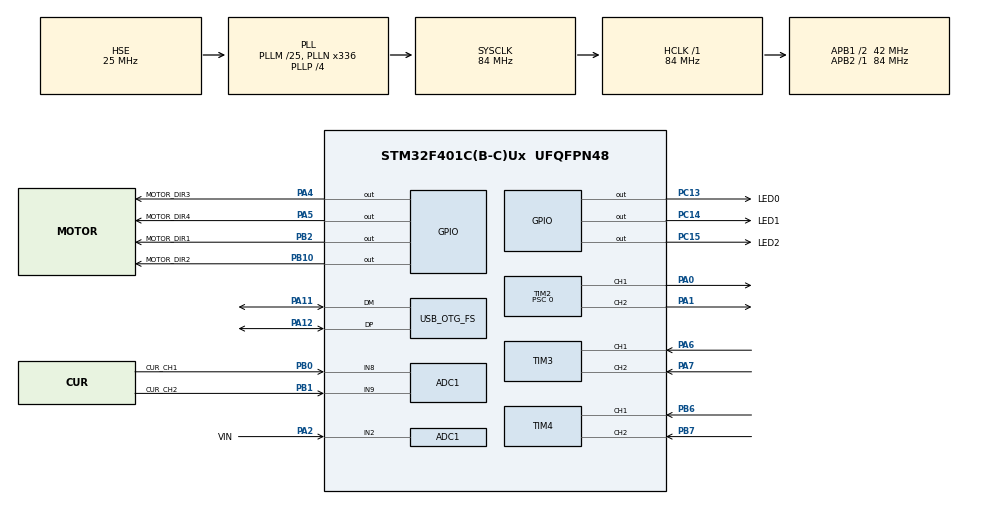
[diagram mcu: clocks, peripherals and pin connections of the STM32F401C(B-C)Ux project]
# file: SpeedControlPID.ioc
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ADC1.Channel-0\#ChannelRegularConversion=ADC_CHANNEL_8
ADC1.Channel-1\#ChannelRegularConversion=ADC_CHANNEL_9
ADC1.Channel-2\#ChannelRegularConversion=ADC_CHANNEL_TEMPSENSOR
ADC1.Channel-3\#ChannelRegularConversion=ADC_CHANNEL_VREFINT
ADC1.Channel-4\#ChannelRegularConversion=ADC_CHANNEL_2
ADC1.ContinuousConvMode=ENABLE
ADC1.DMAContinuousRequests=ENABLE
ADC1.NbrOfConversion=5
ADC1.NbrOfConversionFlag=1
ADC1.Rank-0\#ChannelRegularConversion=1
ADC1.Rank-1\#ChannelRegularConversion=2
ADC1.Rank-2\#ChannelRegularConversion=3
ADC1.Rank-3\#ChannelRegularConversion=4
ADC1.Rank-4\#ChannelRegularConversion=5
ADC1.SamplingTime-0\#ChannelRegularConversion=ADC_SAMPLETIME_480CYCLES
ADC1.SamplingTime-1\#ChannelRegularConversion=ADC_SAMPLETIME_480CYCLES
ADC1.SamplingTime-2\#ChannelRegularConversion=ADC_SAMPLETIME_480CYCLES
ADC1.SamplingTime-3\#ChannelRegularConversion=ADC_SAMPLETIME_480CYCLES
ADC1.SamplingTime-4\#ChannelRegularConversion=ADC_SAMPLETIME_480CYCLES
ADC1.master=1
Dma.ADC1.0.Direction=DMA_PERIPH_TO_MEMORY
Dma.ADC1.0.FIFOMode=DMA_FIFOMODE_DISABLE
Dma.ADC1.0.Instance=DMA2_Stream0
Dma.ADC1.0.MemDataAlignment=DMA_MDATAALIGN_WORD
Dma.ADC1.0.MemInc=DMA_MINC_ENABLE
Dma.ADC1.0.Mode=DMA_CIRCULAR
Dma.ADC1.0.PeriphDataAlignment=DMA_PDATAALIGN_WORD
Dma.ADC1.0.PeriphInc=DMA_PINC_DISABLE
Dma.ADC1.0.Priority=DMA_PRIORITY_LOW
Dma.Request0=ADC1
IWDG.Prescaler=IWDG_PRESCALER_32
IWDG.Reload=1999
Mcu.Family=STM32F4
Mcu.Name=STM32F401C(B-C)Ux
Mcu.Package=UFQFPN48
NVIC.DMA2_Stream0_IRQn=true\:0\:0\:false\:false\:true\:false\:true\:true
NVIC.OTG_FS_IRQn=true\:0\:0\:false\:false\:true\:false\:true\:true
NVIC.PriorityGroup=NVIC_PRIORITYGROUP_4
NVIC.TIM1_BRK_TIM9_IRQn=true\:0\:0\:false\:false\:true\:true\:true\:true
NVIC.TIM3_IRQn=true\:0\:0\:false\:false\:true\:true\:true\:true
NVIC.TIM4_IRQn=true\:0\:0\:false\:false\:true\:true\:true\:true
NVIC.TIM5_IRQn=true\:0\:0\:false\:false\:true\:true\:true\:true
PA0-WKUP.Signal=S_TIM2_CH1_ETR
PA1.GPIO_PuPd=GPIO_PULLUP
PA1.GPIO_Speed=GPIO_SPEED_FREQ_MEDIUM
PA1.Signal=S_TIM2_CH2
PA11.Mode=Device_Only
PA11.Signal=USB_OTG_FS_DM
PA12.Mode=Device_Only
PA12.Signal=USB_OTG_FS_DP
PA13.Mode=Serial_Wire
PA13.Signal=SYS_JTMS-SWDIO
PA14.Mode=Serial_Wire
PA14.Signal=SYS_JTCK-SWCLK
PA2.GPIO_Label=VIN
PA2.Signal=ADCx_IN2
PA4.GPIO_Label=MOTOR_DIR3
PA4.GPIO_PuPd=GPIO_PULLUP
PA4.Signal=GPIO_Output
PA5.GPIO_Label=MOTOR_DIR4
PA5.GPIO_PuPd=GPIO_PULLUP
PA5.Signal=GPIO_Output
PA6.GPIO_PuPd=GPIO_PULLUP
PA6.GPIO_Speed=GPIO_SPEED_FREQ_MEDIUM
PA6.Signal=S_TIM3_CH1
PA7.GPIO_PuPd=GPIO_PULLUP
PA7.GPIO_Speed=GPIO_SPEED_FREQ_MEDIUM
PA7.Signal=S_TIM3_CH2
PB0.GPIO_Label=CUR_CH1
PB0.Signal=ADCx_IN8
PB1.GPIO_Label=CUR_CH2
PB1.Signal=ADCx_IN9
PB10.GPIO_Label=MOTOR_DIR2
PB10.Signal=GPIO_Output
PB2.GPIO_Label=MOTOR_DIR1
PB2.Signal=GPIO_Output
PB6.GPIO_PuPd=GPIO_PULLUP
PB6.GPIO_Speed=GPIO_SPEED_FREQ_MEDIUM
PB6.Signal=S_TIM4_CH1
PB7.GPIO_PuPd=GPIO_PULLUP
PB7.GPIO_Speed=GPIO_SPEED_FREQ_MEDIUM
PB7.Signal=S_TIM4_CH2
PC13-ANTI_TAMP.GPIO_Label=LED0
PC13-ANTI_TAMP.Signal=GPIO_Output
PC14-OSC32_IN.GPIO_Label=LED1
PC14-OSC32_IN.GPIO_PuPd=GPIO_PULLUP
PC14-OSC32_IN.Signal=GPIO_Output
PC15-OSC32_OUT.GPIO_Label=LED2
PC15-OSC32_OUT.GPIO_PuPd=GPIO_PULLUP
PC15-OSC32_OUT.Signal=GPIO_Output
PH0\ -\ OSC_IN.Mode=HSE-External-Oscillator
PH0\ -\ OSC_IN.Signal=RCC_OSC_IN
PH1\ -\ OSC_OUT.Mode=HSE-External-Oscillator
PH1\ -\ OSC_OUT.Signal=RCC_OSC_OUT
ProjectManager.HeapSize=0x200
ProjectManager.StackSize=0x400
ProjectManager.TargetToolchain=Makefile
RCC.48MHZClocksFreq_Value=48000000
RCC.AHBFreq_Value=84000000
RCC.APB1CLKDivider=RCC_HCLK_DIV2
RCC.APB1Freq_Value=42000000
RCC.APB1TimFreq_Value=84000000
RCC.APB2Freq_Value=84000000
RCC.APB2TimFreq_Value=84000000
RCC.CortexFreq_Value=84000000
RCC.HCLKFreq_Value=84000000
RCC.HSE_VALUE=25000000
RCC.HSI_VALUE=16000000
RCC.LSE_VALUE=32768
RCC.PLLM=25
RCC.PLLN=336
RCC.PLLP=RCC_PLLP_DIV4
RCC.PLLQ=7
RCC.SYSCLKFreq_VALUE=84000000
RCC.SYSCLKSource=RCC_SYSCLKSOURCE_PLLCLK
RCC.VCOOutputFreq_Value=336000000
SH.ADCx_IN2.0=ADC1_IN2,IN2
SH.ADCx_IN8.0=ADC1_IN8,IN8
SH.ADCx_IN9.0=ADC1_IN9,IN9
SH.S_TIM2_CH1_ETR.0=TIM2_CH1,PWM Generation1 CH1
SH.S_TIM2_CH2.0=TIM2_CH2,PWM Generation2 CH2
SH.S_TIM3_CH1.0=TIM3_CH1,Encoder_Interface
SH.S_TIM3_CH2.0=TIM3_CH2,Encoder_Interface
SH.S_TIM4_CH1.0=TIM4_CH1,Encoder_Interface
SH.S_TIM4_CH2.0=TIM4_CH2,Encoder_Interface
TIM2.Channel-PWM\ Generation1\ CH1=TIM_CHANNEL_1
TIM2.Channel-PWM\ Generation2\ CH2=TIM_CHANNEL_2
TIM2.Period=8399
TIM2.Prescaler=0
TIM3.EncoderMode=TIM_ENCODERMODE_TI12
TIM3.IC1Polarity=TIM_ICPOLARITY_FALLING
TIM3.IC2Polarity=TIM_ICPOLARITY_FALLING
TIM4.EncoderMode=TIM_ENCODERMODE_TI12
TIM4.IC1Polarity=TIM_ICPOLARITY_FALLING
TIM4.IC2Polarity=TIM_ICPOLARITY_FALLING
TIM5.AutoReloadPreload=TIM_AUTORELOAD_PRELOAD_DISABLE
TIM5.Period=9999
TIM5.Prescaler=83
TIM9.Period=99
TIM9.Prescaler=83
USB_DEVICE.APP_RX_DATA_SIZE=100
USB_DEVICE.APP_TX_DATA_SIZE=100
USB_DEVICE.CLASS_NAME_FS=CDC
USB_DEVICE.VirtualMode=Cdc
USB_DEVICE.VirtualModeFS=Cdc_FS
USB_OTG_FS.VirtualMode=Device_Only
VP_ADC1_TempSens_Input.Mode=IN-TempSens
VP_ADC1_Vref_Input.Mode=IN-Vrefint
VP_IWDG_VS_IWDG.Mode=IWDG_Activate
VP_TIM2_VS_ClockSourceINT.Mode=Internal
VP_TIM5_VS_ClockSourceINT.Mode=Internal
VP_TIM9_VS_ClockSourceINT.Mode=Internal
VP_USB_DEVICE_VS_USB_DEVICE_CDC_FS.Mode=CDC_FS
board=custom

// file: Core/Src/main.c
/* USER CODE BEGIN Header */
/**
  ******************************************************************************
  * @file           : main.c
  * @brief          : Main program body
  ******************************************************************************
  * @attention
  *
  * Copyright (c) 2023 STMicroelectronics.
  * All rights reserved.
  *
  * This software is licensed under terms that can be found in the LICENSE file
  * in the root directory of this software component.
  * If no LICENSE file comes with this software, it is provided AS-IS.
  *
  ******************************************************************************
  */
/* USER CODE END Header */
#include "main.h"
#include "adc.h"
#include "dma.h"
#include "iwdg.h"
#include "tim.h"
#include "usb_device.h"
#include "gpio.h"

/* USER CODE BEGIN Includes */

#include "usbd_cdc_if.h"
#include "string.h"
#include "stdbool.h"
#include "stdio.h"

#include "log_codec.h"

/* USER CODE END Includes */

/* USER CODE BEGIN PTD */

typedef struct MotorHandle_t
{
  uint32_t* ADC_raw;
  uint32_t ADC_Voltage_mV;
  uint32_t ACS_MidPointVoltage_mV;
  uint8_t conversionRatio_mVpA;
  float ADC_Current_A;
  int32_t ADC_Current_mA;

  int32_t encoderValue;
  uint16_t Encoder_Counter_Tick;
  uint16_t Encoder_Counter_preTick;
  uint16_t conversionRatio_TickpRotation;
  int32_t Encoder_Speed_TickpSec;
  int32_t Encoder_Speed_RPM;

  float Duty;
  uint32_t Vcc_mV;

} MotorHandle_t;

typedef struct LPF_t
{
  //Conner Frequency in Hz
	float Fc;
  //Sampling Time in second
  float Ts;

  //Filter Parameters
	float a1, a2, b1, b2;
	float alpha;
	float yk, yk_1, yk_2, uk, uk_1;

} LPF_t;

typedef struct PIHanlde_t
{
  MotorHandle_t MotorHandle;

  float Kp_Rotation;
  float Ki_Rotation;

  float Kp_Current;
  float Ki_Current;

  int32_t Ref_Speed_RPM;

  //error of rotation speed with time (0 - now)
  int32_t e_wt[2];
  //error of current with time (0 - now)
  float e_It[2];
  //value of gain part RPM & Current
  float vP_w;
  float vP_I;
  //value of integral part RPM & Current with time (0 - now)
  float vI_wt[2];
  float vI_It[2];
  //Output value of each PI
  float vOut_w;
  float vOut_I;

  //Sampling Time in millisecond
  uint32_t Ts;
  uint32_t timeKeeper;
  LPF_t Rotation_LPFHandle;
  LPF_t Current_LPFHandle;

  TIM_HandleTypeDef* PWM_Timer;
  uint32_t PWM_Channel;

  TIM_HandleTypeDef* FB_Encoder_Timer;

  bool Enable;

} PIHanlde_t;

/* USER CODE END PTD */

/* USER CODE BEGIN PD */
#define PI                      (3.1415926535)
#define V25                     (0.76)
#define AVG_SLOPE               (0.0025)
#define VREFINT                 (1.21)
#define ADC_RESOLUTION          (4095.0)
#define COUNTER_PERIOD          (8399)
#define NUMBER_OF_ADC_CHANNEL   (5)
#define ADC_BUFFER_LENGTH       (100)
#define LOG_DELAY_MS            (20)
#define ACS_ADC_RATIO           (0.6416)
#define ALPHA                   (0.0001)

#define MOTOR_1_FLASH_ADDR      (0x08020000)
#define MOTOR_2_FLASH_ADDR      (0x08020500)

/* USER CODE END PD */

/* USER CODE BEGIN PV */

static char* InitSentence = "---\tHELLO! WELCOME TO P-I SPEED CONTROL PROGRAM!\t---\r\n";
uint8_t USB_RX_BUFFER[100] = {0};
volatile bool isNewUSBPacket = false;
volatile bool isUSBFree = true;

volatile bool isDEBUG = false;
volatile bool isAppConnected = false;
volatile bool isUpdating = false;
volatile bool isLogSetting = false;

static uint32_t ADC_raw_value[ADC_BUFFER_LENGTH + 1][NUMBER_OF_ADC_CHANNEL] = {0};
static uint32_t ADC_raw_Inverted[NUMBER_OF_ADC_CHANNEL][ADC_BUFFER_LENGTH + 1] = {0};
uint16_t ADC_raw_value_index = 0;
static uint32_t ADC_VREF_mV = 3325;
static uint32_t ADC_VIN = 12000;
float chipTemperature = 0.0;

uint32_t encoderIndex = 0;

static PIHanlde_t Motor_1 = {
  // .MotorHandle.ADC_raw = &ADC_raw_value[ADC_BUFFER_LENGTH][0],
  .MotorHandle.conversionRatio_mVpA = 185,
  // .MotorHandle.ACS_MidPointVoltage_mV = 2500,
  .MotorHandle.conversionRatio_TickpRotation = 334,
  .MotorHandle.Vcc_mV = 12000,
  .Ref_Speed_RPM = 0,
  .Kp_Rotation = 0.04,
  .Ki_Rotation = 0.08,
  .Kp_Current = 1,
  .Ki_Current = 0.01,
  .Ts = 100,
  .PWM_Timer = &htim2,
  .PWM_Channel = TIM_CHANNEL_1,
  .FB_Encoder_Timer = &htim3,
  .Enable = false
};

static PIHanlde_t Motor_2 = {
  // .MotorHandle.ADC_raw = &ADC_raw_value[ADC_BUFFER_LENGTH][1],
  .MotorHandle.conversionRatio_mVpA = 185,
  // .MotorHandle.ACS_MidPointVoltage_mV = 2500,
  .MotorHandle.conversionRatio_TickpRotation = 334,
  .MotorHandle.Vcc_mV = 12000,
  .Ref_Speed_RPM = 0,
  .Kp_Rotation = 0.04,
  .Ki_Rotation = 0.08,
  .Kp_Current = 1,
  .Ki_Current = 0.01,
  .Ts = 100,
  .PWM_Timer = &htim2,
  .PWM_Channel = TIM_CHANNEL_2,
  .FB_Encoder_Timer = &htim4,
  .Enable = false
};

static uint8_t dummy1[300] = {0};
static uint8_t dummy2[300] = {0};

PIHanlde_t* pMotor;

uint32_t timeKeeper = 0;

/* USER CODE END PV */

void SystemClock_Config(void);
/* USER CODE BEGIN PFP */

void LPF_Init(LPF_t *pLPF, uint16_t ConnerFrqHz, float samplingTime);

int32_t getRotationSpeed(PIHanlde_t* motor);
uint32_t getCurrent(PIHanlde_t* motor);
int32_t runRotation_LPF(LPF_t *pLPF, int32_t input);
int32_t runCurrent_LPF(LPF_t *pLPF, int32_t input);
float runPIControl(PIHanlde_t* motor);
void runEncoderTickHandle(PIHanlde_t* motor);

bool logData(PIHanlde_t* motor, uint8_t codec);
bool updateData(void);

uint32_t prepareSaveSpace();
uint32_t Flash_Write_Data(uint32_t StartPageAddress, uint32_t *Data, uint16_t numberofwords);

float getChipTemperature(uint32_t rawADCtemp);

uint16_t CheckSumCrc16(uint8_t *ucBufferTemp, uint8_t ucLength)
{
    uint32_t CRCFull = 0xFFFF;
    char CRCLSB;
    for (uint8_t i = 0; i < ucLength; i++)
    {
        CRCFull = (uint16_t) (CRCFull ^ ucBufferTemp[i]);
        for ( int j = 0; j < 8; j++ )
        {
            CRCLSB = (char) (CRCFull & 0x0001);
            CRCFull = (uint16_t) ((CRCFull >> 1) & 0x7FFFF);

            if ( CRCLSB == 1 )
            {
                CRCFull = (uint16_t) (CRCFull ^ 0xA001);
            }
        }
    }
    return CRCFull;
}

/* USER CODE END PFP */

/* USER CODE BEGIN 0 */

// void thisTestFunction(void)
// {
//   const char a[] = "this is a TEST, this text should be at the end of flash!!!!!";
//   CDC_Transmit_FS((uint8_t*)a, strlen(a));
// }

/* USER CODE END 0 */

int main(void)
{

  /* MCU Configuration--------------------------------------------------------*/

  /* Reset of all peripherals, Initializes the Flash interface and the Systick. */
  HAL_Init();

  /* Configure the system clock */
  SystemClock_Config();

  /* Initialize all configured peripherals */
  MX_GPIO_Init();
  MX_DMA_Init();
  MX_TIM2_Init();
  MX_ADC1_Init();
  MX_TIM3_Init();
  MX_USB_DEVICE_Init();
  MX_TIM4_Init();
  MX_TIM5_Init();
  MX_IWDG_Init();
  MX_TIM9_Init();
  /* USER CODE BEGIN 2 */

  HAL_Delay(20);
  HAL_IWDG_Refresh(&hiwdg);
  CDC_Transmit_FS((uint8_t*)InitSentence, strlen(InitSentence));

  LPF_Init(&Motor_1.Current_LPFHandle, 10, 0.1);
  LPF_Init(&Motor_1.Rotation_LPFHandle, 10, 0.1);
  LPF_Init(&Motor_2.Current_LPFHandle, 10, 0.1);
  LPF_Init(&Motor_2.Rotation_LPFHandle, 10, 0.1);

  HAL_TIM_Base_Start_IT(&htim5);
  HAL_TIM_Base_Start_IT(&htim9);

  HAL_GPIO_WritePin(MOTOR_DIR1_GPIO_Port, MOTOR_DIR1_Pin, 0);
  HAL_GPIO_WritePin(MOTOR_DIR2_GPIO_Port, MOTOR_DIR2_Pin, 0);
  HAL_GPIO_WritePin(MOTOR_DIR3_GPIO_Port, MOTOR_DIR3_Pin, 0);
  HAL_GPIO_WritePin(MOTOR_DIR4_GPIO_Port, MOTOR_DIR4_Pin, 0);

  HAL_ADC_Start_DMA(&hadc1, ADC_raw_value[0], NUMBER_OF_ADC_CHANNEL);

  char tempbuf[100] = {0};
  uint8_t checkLog1 = 0;
  uint8_t checkLog2 = 0;

  // Flash_write
  // Flash_Write_Data(MOTOR_1_FLASH_ADDR, (uint32_t*)&Motor_1, sizeof(Motor_1)/4);
  // Flash_Write_Data(MOTOR_2_FLASH_ADDR, (uint32_t*)&Motor_2, sizeof(Motor_2)/4);

  // Load data from flash
  memcpy(&Motor_1, (uint32_t*)MOTOR_1_FLASH_ADDR, sizeof(Motor_1));
  memcpy(&Motor_2, (uint32_t*)MOTOR_2_FLASH_ADDR, sizeof(Motor_2));

  // *(uint32_t*)&dummy1[(uint32_t)(&pMotor->Kp_Rotation) - MOTOR_1_FLASH_ADDR] = 0x12345678;
  HAL_IWDG_Refresh(&hiwdg);

  Motor_1.MotorHandle.ADC_raw = &ADC_raw_value[ADC_BUFFER_LENGTH][0];
  Motor_1.PWM_Timer = &htim2;
  Motor_1.PWM_Channel = TIM_CHANNEL_1;
  Motor_1.FB_Encoder_Timer = &htim3;

  Motor_2.MotorHandle.ADC_raw = &ADC_raw_value[ADC_BUFFER_LENGTH][1];
  Motor_2.PWM_Timer = &htim2;
  Motor_2.PWM_Channel = TIM_CHANNEL_2;
  Motor_2.FB_Encoder_Timer = &htim4;

  HAL_TIM_PWM_Start(Motor_1.PWM_Timer, Motor_1.PWM_Channel);
  HAL_TIM_PWM_Start(Motor_2.PWM_Timer, Motor_2.PWM_Channel);

  HAL_TIM_Encoder_Start(Motor_1.FB_Encoder_Timer, TIM_CHANNEL_ALL);
  HAL_TIM_Encoder_Start(Motor_2.FB_Encoder_Timer, TIM_CHANNEL_ALL);

  HAL_IWDG_Refresh(&hiwdg);
  HAL_Delay(500);
  HAL_GPIO_TogglePin(LED0_GPIO_Port, LED0_Pin);
  HAL_IWDG_Refresh(&hiwdg);
  HAL_Delay(500);
  HAL_GPIO_TogglePin(LED0_GPIO_Port, LED0_Pin);
  HAL_IWDG_Refresh(&hiwdg);

  HAL_Delay(2000);
  Motor_1.MotorHandle.ACS_MidPointVoltage_mV = (uint32_t)((*Motor_1.MotorHandle.ADC_raw * ADC_VREF_mV / 4095.0) / ACS_ADC_RATIO);
  Motor_2.MotorHandle.ACS_MidPointVoltage_mV = (uint32_t)((*Motor_2.MotorHandle.ADC_raw * ADC_VREF_mV / 4095.0) / ACS_ADC_RATIO);
  ADC_VIN = (uint32_t)(ADC_raw_value[ADC_BUFFER_LENGTH][4] * 7.2686 * ADC_VREF_mV / ADC_RESOLUTION);

  HAL_IWDG_Refresh(&hiwdg);
  timeKeeper = HAL_GetTick();
  uint32_t timeKeeper1 = HAL_GetTick();
  uint32_t timeKeeper2 = HAL_GetTick();
  Motor_1.timeKeeper = HAL_GetTick();
  Motor_2.timeKeeper = HAL_GetTick();

  // thisTestFunction();
  /* USER CODE END 2 */

  /* Infinite loop */
  while (1)
  {

    /* USER CODE BEGIN 3 */

    HAL_Delay(1);
    // HAL_IWDG_Refresh(&hiwdg);

    if ((HAL_GetTick() - Motor_1.timeKeeper) >= Motor_1.Ts)
    {
      Motor_1.MotorHandle.ADC_Current_mA = runCurrent_LPF(&Motor_1.Current_LPFHandle, getCurrent(&Motor_1));
      Motor_1.MotorHandle.Encoder_Speed_RPM = runRotation_LPF(&Motor_1.Current_LPFHandle, getRotationSpeed(&Motor_1));

      // Motor_1.MotorHandle.ADC_Current_mA = getCurrent(&Motor_1);
      // Motor_1.MotorHandle.Encoder_Speed_RPM = getRotationSpeed(&Motor_1);
      if ((isAppConnected == true) && (isUpdating == false)) checkLog1++;

      if (Motor_1.Enable == true)
      {
        if (Motor_1.Ref_Speed_RPM > 0)
        {
          HAL_GPIO_WritePin(MOTOR_DIR1_GPIO_Port, MOTOR_DIR1_Pin, 1);
          HAL_GPIO_WritePin(MOTOR_DIR2_GPIO_Port, MOTOR_DIR2_Pin, 0);
        }
        else if (Motor_1.Ref_Speed_RPM < 0)
        {
          HAL_GPIO_WritePin(MOTOR_DIR1_GPIO_Port, MOTOR_DIR1_Pin, 0);
          HAL_GPIO_WritePin(MOTOR_DIR2_GPIO_Port, MOTOR_DIR2_Pin, 1);
        }
        else
        {
          HAL_GPIO_WritePin(MOTOR_DIR1_GPIO_Port, MOTOR_DIR1_Pin, 0);
          HAL_GPIO_WritePin(MOTOR_DIR2_GPIO_Port, MOTOR_DIR2_Pin, 0);
        }

        // Motor_1.MotorHandle.Duty = 0.5;
        // __HAL_TIM_SetCompare(Motor_1.PWM_Timer, Motor_1.PWM_Channel, 4199);
        runPIControl(&Motor_1);
      }
      else
      {
        __HAL_TIM_SetCompare(Motor_1.PWM_Timer, Motor_1.PWM_Channel, (uint32_t)0);
        HAL_GPIO_WritePin(MOTOR_DIR1_GPIO_Port, MOTOR_DIR1_Pin, 0);
        HAL_GPIO_WritePin(MOTOR_DIR2_GPIO_Port, MOTOR_DIR2_Pin, 0);
      }

      Motor_1.timeKeeper = HAL_GetTick();
    }

    if ((HAL_GetTick() - Motor_2.timeKeeper) >= Motor_2.Ts)
    {
      // Motor_2.MotorHandle.ADC_Current_mA = runCurrent_LPF(&Motor_2.Current_LPFHandle, getCurrent(&Motor_2));
      // Motor_2.MotorHandle.Encoder_Speed_RPM = runRotation_LPF(&Motor_2.Current_LPFHandle, getRotationSpeed(&Motor_2));

      Motor_2.MotorHandle.ADC_Current_mA = getCurrent(&Motor_2);
      Motor_2.MotorHandle.Encoder_Speed_RPM = getRotationSpeed(&Motor_2);
      if ((isAppConnected == true) && (isUpdating == false)) checkLog2++;

      if (Motor_2.Enable == true)
      {
        if (Motor_2.Ref_Speed_RPM > 0)
        {
          HAL_GPIO_WritePin(MOTOR_DIR3_GPIO_Port, MOTOR_DIR3_Pin, 1);
          HAL_GPIO_WritePin(MOTOR_DIR4_GPIO_Port, MOTOR_DIR4_Pin, 0);
        }
        else if (Motor_2.Ref_Speed_RPM < 0)
        {
          HAL_GPIO_WritePin(MOTOR_DIR3_GPIO_Port, MOTOR_DIR3_Pin, 0);
          HAL_GPIO_WritePin(MOTOR_DIR4_GPIO_Port, MOTOR_DIR4_Pin, 1);
        }
        else
        {
          HAL_GPIO_WritePin(MOTOR_DIR3_GPIO_Port, MOTOR_DIR3_Pin, 0);
          HAL_GPIO_WritePin(MOTOR_DIR4_GPIO_Port, MOTOR_DIR4_Pin, 0);
        }

        runPIControl(&Motor_2);
      }
      else
      {
        __HAL_TIM_SetCompare(Motor_2.PWM_Timer, Motor_2.PWM_Channel, (uint32_t)0);
        HAL_GPIO_WritePin(MOTOR_DIR3_GPIO_Port, MOTOR_DIR3_Pin, 0);
        HAL_GPIO_WritePin(MOTOR_DIR4_GPIO_Port, MOTOR_DIR4_Pin, 0);
      }

      Motor_2.timeKeeper = HAL_GetTick();
    }

    //---------------------------------------------------------------------------------

    if (((HAL_GetTick() - timeKeeper1) >= 5000) && (isDEBUG == true) && (isUpdating == false))
    {
      //Detail Log of ADC, VDDA and Temperature

      // memset(tempbuf, '\0', sizeof(tempbuf));
      // sprintf(tempbuf, "ADC raw value:\t[0] = [%li]\t[1] = [%li]\t[2] = [%li]\t[3] = [%li]\t[4] = [%li]\r\n", ADC_raw_value[10][0], ADC_raw_value[10][1], ADC_raw_value[10][2], ADC_raw_value[10][3], ADC_raw_value[10][4]);
      // CDC_Transmit_FS((uint8_t*)tempbuf, strlen(tempbuf));
      // timeKeeper = HAL_GetTick();
      // while ((isUSBFree != true) && ((HAL_GetTick() - timeKeeper) <= LOG_DELAY_MS));

      memset(tempbuf, '\0', sizeof(tempbuf));
      sprintf(tempbuf, "\r\n");
      CDC_Transmit_FS((uint8_t*)tempbuf, strlen(tempbuf));
      timeKeeper = HAL_GetTick();
      while ((isUSBFree != true) && ((HAL_GetTick() - timeKeeper) <= LOG_DELAY_MS));

      memset(tempbuf, '\0', sizeof(tempbuf));
      sprintf(tempbuf, "ADC raw value:\t[0] = [%li]\tACS1 Input Voltage:\t[%li]mV\r\n", *Motor_1.MotorHandle.ADC_raw, Motor_1.MotorHandle.ADC_Voltage_mV);
      CDC_Transmit_FS((uint8_t*)tempbuf, strlen(tempbuf));
      timeKeeper = HAL_GetTick();
      while ((isUSBFree != true) && ((HAL_GetTick() - timeKeeper) <= LOG_DELAY_MS));

      memset(tempbuf, '\0', sizeof(tempbuf));
      sprintf(tempbuf, "ADC raw value:\t[1] = [%li]\tACS2 Input Voltage:\t[%li]mV\r\n", *Motor_2.MotorHandle.ADC_raw, Motor_2.MotorHandle.ADC_Voltage_mV);
      CDC_Transmit_FS((uint8_t*)tempbuf, strlen(tempbuf));
      timeKeeper = HAL_GetTick();
      while ((isUSBFree != true) && ((HAL_GetTick() - timeKeeper) <= LOG_DELAY_MS));

      // // chipTemperature = getChipTemperature(ADC_raw_value[ADC_BUFFER_LENGTH][2]);

      // memset(tempbuf, '\0', sizeof(tempbuf));
      // sprintf(tempbuf, "ADC raw value:\t[2] = [%li]\tChip temperature:\t[%2.2f]oC\r\n", ADC_raw_value[ADC_BUFFER_LENGTH][2], chipTemperature);
      // CDC_Transmit_FS((uint8_t*)tempbuf, strlen(tempbuf));
      // timeKeeper = HAL_GetTick();
      // while ((isUSBFree != true) && ((HAL_GetTick() - timeKeeper) <= LOG_DELAY_MS));

      // // ADC_VREF_mV = (uint32_t)(VREFINT * ADC_RESOLUTION * 1000 / ADC_raw_value[ADC_BUFFER_LENGTH][3]);

      // memset(tempbuf, '\0', sizeof(tempbuf));
      // sprintf(tempbuf, "ADC raw value:\t[3] = [%li]\tVDD Voltage Calibrated:\t[%li]mV\r\n", ADC_raw_value[ADC_BUFFER_LENGTH][3], ADC_VREF_mV);
      // CDC_Transmit_FS((uint8_t*)tempbuf, strlen(tempbuf));
      // timeKeeper = HAL_GetTick();
      // while ((isUSBFree != true) && ((HAL_GetTick() - timeKeeper) <= LOG_DELAY_MS));

      // // ADC_VIN = (uint32_t)(ADC_raw_value[ADC_BUFFER_LENGTH][4] * 4 * ADC_VREF_mV / ADC_RESOLUTION);

      // memset(tempbuf, '\0', sizeof(tempbuf));
      // sprintf(tempbuf, "ADC raw value:\t[4] = [%li]\tVCC Voltage Calibrated:\t[%li]mV\r\n", ADC_raw_value[ADC_BUFFER_LENGTH][4], ADC_VIN);
      // CDC_Transmit_FS((uint8_t*)tempbuf, strlen(tempbuf));
      // timeKeeper = HAL_GetTick();
      // while ((isUSBFree != true) && ((HAL_GetTick() - timeKeeper) <= LOG_DELAY_MS));

      // pMotor = (PIHanlde_t*) MOTOR_1_FLASH_ADDR;
      // memset(tempbuf, '\0', sizeof(tempbuf));
      // sprintf(tempbuf, "Test:\t[0x%08X]\r\n", &pMotor->MotorHandle.conversionRatio_TickpRotation);
      // CDC_Transmit_FS((uint8_t*)tempbuf, strlen(tempbuf));
      // timeKeeper = HAL_GetTick();
      // while ((isUSBFree != true) && ((HAL_GetTick() - timeKeeper) <= LOG_DELAY_MS));

      HAL_GPIO_TogglePin(LED0_GPIO_Port, LED0_Pin);
      timeKeeper1 = HAL_GetTick();
    }

    if ((checkLog1 == 5) && (isAppConnected == true) && (isUpdating == false))
    {
      checkLog1 = 0;

      logData(&Motor_1, R_CUR_mA);
      logData(&Motor_1, R_SPD_RPM);
      logData(&Motor_1, R_Duty);
      logData(&Motor_1, R_VCC_mV);
      logData(&Motor_1, R_ENA);

      HAL_GPIO_TogglePin(LED1_GPIO_Port, LED1_Pin);

      // if (DEBUG)
      // {
      //   memset(tempbuf, '\0', sizeof(tempbuf));
      //   sprintf(tempbuf, "Speed Motor 1:\t[%li] RPM\r\n", Motor_1.MotorHandle.Encoder_Speed_RPM);
      //   CDC_Transmit_FS((uint8_t*)tempbuf, strlen(tempbuf));
      //   timeKeeper = HAL_GetTick();
      //   while ((isUSBFree != true) && ((HAL_GetTick() - timeKeeper) <= LOG_DELAY_MS));
      // }
    }

    if ((checkLog2 == 5) && (isAppConnected == true) && (isUpdating == false))
    {
      checkLog2 = 0;

      logData(&Motor_2, R_CUR_mA);
      logData(&Motor_2, R_SPD_RPM);
      logData(&Motor_2, R_Duty);
      logData(&Motor_2, R_VCC_mV);
      logData(&Motor_2, R_ENA);

      HAL_GPIO_TogglePin(LED2_GPIO_Port, LED2_Pin);

      // if (DEBUG)
      // {
      //   memset(tempbuf, '\0', sizeof(tempbuf));
      //   sprintf(tempbuf, "Speed Motor 2:\t[%li] RPM\r\n", Motor_2.MotorHandle.Encoder_Speed_RPM);
      //   CDC_Transmit_FS((uint8_t*)tempbuf, strlen(tempbuf));
      //   timeKeeper = HAL_GetTick();
      //   while ((isUSBFree != true) && ((HAL_GetTick() - timeKeeper) <= LOG_DELAY_MS));
      // }
    }

    if (isNewUSBPacket == true)
    {
      uint16_t check = CheckSumCrc16(USB_RX_BUFFER, 6);
      if ((USB_RX_BUFFER[0] != 0xAB) && (USB_RX_BUFFER[8] != 0xBA))
      {
        //error in frame - request resend
        logData(NULL, W_req_retry);
      }
      else if ((USB_RX_BUFFER[6] != (uint8_t)((check & 0xFF00) >> 8)) || (USB_RX_BUFFER[7] != (uint8_t)(check & 0x00FF)))
      {
        //error in CRC - data corrupted - request resend
        logData(NULL, W_req_retry);
      }
      else
      {
        //no error - parse data
        updateData();
        logData(NULL, W_ack);
      }
      isNewUSBPacket = false;
    }

    if (isLogSetting == true)
    {
      // memcpy(dummy1, (uint8_t*)MOTOR_1_FLASH_ADDR, sizeof(Motor_1));
      // memcpy(dummy2, (uint8_t*)MOTOR_2_FLASH_ADDR, sizeof(Motor_2));

      pMotor = (PIHanlde_t*)MOTOR_1_FLASH_ADDR;
      logData(pMotor, R_Kp_R);
      logData(pMotor, R_Ki_R);
      logData(pMotor, R_Kp_C);
      logData(pMotor, R_Ki_C);
      logData(pMotor, R_REF_RPM);
      logData(pMotor, R_Ts);
      logData(pMotor, R_conv_mVpA);
      logData(pMotor, R_conv_TpR);

      pMotor = (PIHanlde_t*)MOTOR_2_FLASH_ADDR;
      logData(pMotor, R_Kp_R);
      logData(pMotor, R_Ki_R);
      logData(pMotor, R_Kp_C);
      logData(pMotor, R_Ki_C);
      logData(pMotor, R_REF_RPM);
      logData(pMotor, R_Ts);
      logData(pMotor, R_conv_mVpA);
      logData(pMotor, R_conv_TpR);

      isLogSetting = false;
      isAppConnected = true;
    }

    if ((HAL_GetTick() - timeKeeper2) >= 100)
    {
      // ADC_VIN = (uint32_t)(ADC_raw_value[ADC_BUFFER_LENGTH][4] * 7.2686 * ADC_VREF_mV / ADC_RESOLUTION);
      Motor_1.MotorHandle.Vcc_mV = ADC_VIN;
      Motor_2.MotorHandle.Vcc_mV = ADC_VIN;
      timeKeeper2 = HAL_GetTick();
    }
  }
  /* USER CODE END 3 */
}

void SystemClock_Config(void)
{
  RCC_OscInitTypeDef RCC_OscInitStruct = {0};
  RCC_ClkInitTypeDef RCC_ClkInitStruct = {0};

  /** Configure the main internal regulator output voltage
  */
  __HAL_RCC_PWR_CLK_ENABLE();
  __HAL_PWR_VOLTAGESCALING_CONFIG(PWR_REGULATOR_VOLTAGE_SCALE2);

  /** Initializes the RCC Oscillators according to the specified parameters
  * in the RCC_OscInitTypeDef structure.
  */
  RCC_OscInitStruct.OscillatorType = RCC_OSCILLATORTYPE_LSI|RCC_OSCILLATORTYPE_HSE;
  RCC_OscInitStruct.HSEState = RCC_HSE_ON;
  RCC_OscInitStruct.LSIState = RCC_LSI_ON;
  RCC_OscInitStruct.PLL.PLLState = RCC_PLL_ON;
  RCC_OscInitStruct.PLL.PLLSource = RCC_PLLSOURCE_HSE;
  RCC_OscInitStruct.PLL.PLLM = 25;
  RCC_OscInitStruct.PLL.PLLN = 336;
  RCC_OscInitStruct.PLL.PLLP = RCC_PLLP_DIV4;
  RCC_OscInitStruct.PLL.PLLQ = 7;
  if (HAL_RCC_OscConfig(&RCC_OscInitStruct) != HAL_OK)
  {
    Error_Handler();
  }

  /** Initializes the CPU, AHB and APB buses clocks
  */
  RCC_ClkInitStruct.ClockType = RCC_CLOCKTYPE_HCLK|RCC_CLOCKTYPE_SYSCLK
                              |RCC_CLOCKTYPE_PCLK1|RCC_CLOCKTYPE_PCLK2;
  RCC_ClkInitStruct.SYSCLKSource = RCC_SYSCLKSOURCE_PLLCLK;
  RCC_ClkInitStruct.AHBCLKDivider = RCC_SYSCLK_DIV1;
  RCC_ClkInitStruct.APB1CLKDivider = RCC_HCLK_DIV2;
  RCC_ClkInitStruct.APB2CLKDivider = RCC_HCLK_DIV1;

  if (HAL_RCC_ClockConfig(&RCC_ClkInitStruct, FLASH_LATENCY_2) != HAL_OK)
  {
    Error_Handler();
  }
}

/* USER CODE BEGIN 4 */

void LPF_Init(LPF_t *pLPF, uint16_t ConnerFrqHz, float samplingTime)
{
	/*Low pass filter*/
	float temp1, temp2;

	pLPF->Fc = ConnerFrqHz;
	pLPF->Ts = samplingTime;
	pLPF->alpha = 1 / (2 * PI * pLPF->Ts * pLPF->Fc);

	temp1 = (1 + pLPF->alpha);
	temp2 = temp1 * temp1;
	pLPF->a1 = (1 + 2 * pLPF->alpha) / temp2;
	pLPF->a2 = (-2) * pLPF->alpha / temp2 ;
	pLPF->b1 = (-2) * pLPF->alpha / temp1;
	pLPF->b2 = pLPF->alpha * pLPF->alpha / temp2;

	pLPF->yk = 0;
	pLPF->yk_1 = 0;
	pLPF->yk_2 = 0;
	pLPF->uk = 0;
	pLPF->uk_1 = 0;
}

int32_t runCurrent_LPF(LPF_t *pLPF, int32_t input)
{
	//Read LPF input
	pLPF->uk = (float)input;
	//Compute LPF output
	pLPF->yk = -pLPF->b1 * pLPF->yk_1 - pLPF->b2 * pLPF->yk_2 + pLPF->a1 * pLPF->uk + pLPF->a2 * pLPF->uk_1;
	//Save LPF past data
	pLPF->yk_2 = pLPF->yk_1;
	pLPF->yk_1 = pLPF->yk;
	pLPF->uk_1 = pLPF->uk;
	//Return LPF output
	return (int32_t)pLPF->yk;
}

int32_t runRotation_LPF(LPF_t *pLPF, int32_t input)
{
	//Read LPF input
	pLPF->uk = (float)input;
	//Compute LPF output
	pLPF->yk = -pLPF->b1*pLPF->yk_1 - pLPF->b2*pLPF->yk_2 + pLPF->a1*pLPF->uk + pLPF->a2*pLPF->uk_1;
	//Save LPF past data
	pLPF->yk_2 = pLPF->yk_1;
	pLPF->yk_1 = pLPF->yk;
	pLPF->uk_1 = pLPF->uk;
	//Return LPF output
	return (int32_t)(pLPF->yk);
}

uint16_t digitalFilter(uint32_t* buf, uint8_t len, double alpha)
{
  uint32_t y_now = 0;
  uint32_t y_pre = buf[0];
  for (uint8_t i = 1; i < len; i++)
  {
    y_now = alpha * buf[i] + (1.0-alpha) * y_pre;
    y_pre = buf[i];
  }
  return (uint16_t)(y_now);
}

void invertArray(void)
{
  for (uint8_t i = 0; i < ADC_BUFFER_LENGTH; i++)
  {
    ADC_raw_Inverted[0][i] = ADC_raw_value[i][0];
    ADC_raw_Inverted[1][i] = ADC_raw_value[i][1];
    ADC_raw_Inverted[2][i] = ADC_raw_value[i][2];
    ADC_raw_Inverted[3][i] = ADC_raw_value[i][3];
    ADC_raw_Inverted[4][i] = ADC_raw_value[i][4];
  }
}

//---------------------------------------------------------------------------------------------------

bool logData(PIHanlde_t* motor, uint8_t codec)
{
  uint8_t LogBuffer[9] = {0};

  LogBuffer[0] = 0xAB;

  if ((motor == &Motor_2) || (motor == (PIHanlde_t*)MOTOR_2_FLASH_ADDR))
  {
    //ID = 1
    LogBuffer[1] |= (0x01 << 7);
  }
  // READ operation = 0
  LogBuffer[1] &= ~(0x01 << 6);
  // No error (yet)
  LogBuffer[1] &= ~(0x01 << 5);

  // WRITE operation = 1
  if (motor == NULL)
  {
    LogBuffer[1] |= (0x01 << 6);
    if (codec == W_req_retry)
      LogBuffer[1] |= (0x01 << 5);
    else
      LogBuffer[1] &= ~(0x01 << 5);
  }

  // Codec 4bits
  for (uint8_t i = 0; i < 4; i++)
  {
    if (codec & (0x01 << i))
    {
      LogBuffer[1] |= (0x01 << i);
    }
    else
    {
      LogBuffer[1] &= ~(0x01 << i);
    }
  }

  switch (codec)
  {
    case R_CUR_mA: {
      memcpy(&LogBuffer[2], &motor->MotorHandle.ADC_Current_mA, sizeof(int32_t));
      break;
    }
    case R_SPD_RPM: {
      memcpy(&LogBuffer[2], &motor->MotorHandle.Encoder_Speed_RPM, sizeof(int32_t));
      break;
    }
    case R_Duty: {
      memcpy(&LogBuffer[2], &motor->MotorHandle.Duty, sizeof(float));
      break;
    }
    case R_VCC_mV: {
      memcpy(&LogBuffer[2], &motor->MotorHandle.Vcc_mV, sizeof(uint32_t));
      break;
    }
    case R_ENA: {
      memcpy(&LogBuffer[2], &motor->Enable, sizeof(bool));
      break;
    }
    case W_req_retry: {
      // retry dont need data!
      break;
    }
    case W_ack: {
      // ack dont need data~
      break;
    }
    case R_Kp_R: {
      memcpy(&LogBuffer[2], &motor->Kp_Rotation, sizeof(float));
      break;
    }
    case R_Ki_R: {
      memcpy(&LogBuffer[2], &motor->Ki_Rotation, sizeof(float));
      break;
    }
    case R_Kp_C: {
      memcpy(&LogBuffer[2], &motor->Kp_Current, sizeof(float));
      break;
    }
    case R_Ki_C: {
      memcpy(&LogBuffer[2], &motor->Ki_Current, sizeof(float));
      break;
    }
    case R_REF_RPM: {
      memcpy(&LogBuffer[2], &motor->Ref_Speed_RPM, sizeof(int32_t));
      break;
    }
    case R_Ts: {
      memcpy(&LogBuffer[2], &motor->Ts, sizeof(uint32_t));
      break;
    }
    case R_conv_mVpA: {
      memcpy(&LogBuffer[2], &motor->MotorHandle.conversionRatio_mVpA, sizeof(uint8_t));
      break;
    }
    case R_conv_TpR: {
      memcpy(&LogBuffer[2], &motor->MotorHandle.conversionRatio_TickpRotation, sizeof(uint16_t));
      break;
    }
    default:  return false;
  }

  uint16_t checksum = CheckSumCrc16(LogBuffer, 6);

  LogBuffer[6] = (uint8_t)((checksum & 0xFF00) >> 8);
  LogBuffer[7] = (uint8_t)(checksum & 0x00FF);
  LogBuffer[8] = 0xBA;

  CDC_Transmit_FS((uint8_t*)LogBuffer, 9);
  timeKeeper = HAL_GetTick();
  while ((isUSBFree != true) && ((HAL_GetTick() - timeKeeper) <= LOG_DELAY_MS));

  return true;
}

bool updateData(void)
{
  uint8_t ID = (uint8_t)((USB_RX_BUFFER[1] & (0x01 << offset_ID)) >> offset_ID);
  // uint8_t RW = (uint8_t)((USB_RX_BUFFER[1] & (0x01 << offset_RW)) >> offset_RW);
  uint8_t codec = (uint8_t)(USB_RX_BUFFER[1] & 0x0F);

  switch (codec)
  {
    case(W_log): {
      if (USB_RX_BUFFER[2] == 0x01)
        isDEBUG = true;
      else
        isDEBUG = false;
      break;
    }
    case(W_APP_CON): {
      isLogSetting = true;
      break;
    }
    case(W_APP_DIS): {
      isAppConnected = false;
      isDEBUG = false;
      break;
    }
    case(W_Kp_R): {
      isUpdating = true;
      prepareSaveSpace();
      if (ID == 0)
      {
        pMotor = (PIHanlde_t*)MOTOR_1_FLASH_ADDR;
        memcpy(&dummy1[(uint32_t)(&pMotor->Kp_Rotation) - MOTOR_1_FLASH_ADDR], &USB_RX_BUFFER[2], sizeof(float));
      }
      else
      {
        pMotor = (PIHanlde_t*)MOTOR_2_FLASH_ADDR;
        memcpy(&dummy2[(uint32_t)(&pMotor->Kp_Rotation) - MOTOR_2_FLASH_ADDR], &USB_RX_BUFFER[2], sizeof(float));
      }
      break;
    }
    case(W_Ki_R): {
      if (ID == 0)
      {
        pMotor = (PIHanlde_t*)MOTOR_1_FLASH_ADDR;
        memcpy(&dummy1[(uint32_t)(&pMotor->Ki_Rotation) - MOTOR_1_FLASH_ADDR], &USB_RX_BUFFER[2], sizeof(float));
      }
      else
      {
        pMotor = (PIHanlde_t*)MOTOR_2_FLASH_ADDR;
        memcpy(&dummy2[(uint32_t)(&pMotor->Ki_Rotation) - MOTOR_2_FLASH_ADDR], &USB_RX_BUFFER[2], sizeof(float));
      }
      break;
    }
    case(W_Kp_C): {
      if (ID == 0)
      {
        pMotor = (PIHanlde_t*)MOTOR_1_FLASH_ADDR;
        memcpy(&dummy1[(uint32_t)(&pMotor->Kp_Current) - MOTOR_1_FLASH_ADDR], &USB_RX_BUFFER[2], sizeof(float));
      }
      else
      {
        pMotor = (PIHanlde_t*)MOTOR_2_FLASH_ADDR;
        memcpy(&dummy2[(uint32_t)(&pMotor->Kp_Current) - MOTOR_2_FLASH_ADDR], &USB_RX_BUFFER[2], sizeof(float));
      }
      break;
    }
    case(W_Ki_C): {
      if (ID == 0)
      {
        pMotor = (PIHanlde_t*)MOTOR_1_FLASH_ADDR;
        memcpy(&dummy1[(uint32_t)(&pMotor->Ki_Current) - MOTOR_1_FLASH_ADDR], &USB_RX_BUFFER[2], sizeof(float));
      }
      else
      {
        pMotor = (PIHanlde_t*)MOTOR_2_FLASH_ADDR;
        memcpy(&dummy2[(uint32_t)(&pMotor->Ki_Current) - MOTOR_2_FLASH_ADDR], &USB_RX_BUFFER[2], sizeof(float));
      }
      break;
    }
    case(W_REF_RPM): {
      if (ID == 0)
      {
        pMotor = (PIHanlde_t*)MOTOR_1_FLASH_ADDR;
        memcpy(&dummy1[(uint32_t)(&pMotor->Ref_Speed_RPM) - MOTOR_1_FLASH_ADDR], &USB_RX_BUFFER[2], sizeof(int32_t));
      }
      else
      {
        pMotor = (PIHanlde_t*)MOTOR_2_FLASH_ADDR;
        memcpy(&dummy2[(uint32_t)(&pMotor->Ref_Speed_RPM) - MOTOR_2_FLASH_ADDR], &USB_RX_BUFFER[2], sizeof(int32_t));
      }
      break;
    }
    case(W_Ts): {
      if (ID == 0)
      {
        pMotor = (PIHanlde_t*)MOTOR_1_FLASH_ADDR;
        memcpy(&dummy1[(uint32_t)(&pMotor->Ts) - MOTOR_1_FLASH_ADDR], &USB_RX_BUFFER[2], sizeof(uint32_t));
        uint32_t t = 0;
        memcpy((uint8_t*)&t, &USB_RX_BUFFER[2], sizeof(uint32_t));
        t = (uint32_t)(t / 1000);
        memcpy(&dummy1[(uint32_t)(&pMotor->Current_LPFHandle.Ts) - MOTOR_1_FLASH_ADDR], (uint8_t*)&t, sizeof(uint32_t));
        memcpy(&dummy1[(uint32_t)(&pMotor->Rotation_LPFHandle.Ts) - MOTOR_1_FLASH_ADDR], (uint8_t*)&t, sizeof(uint32_t));
      }
      else
      {
        pMotor = (PIHanlde_t*)MOTOR_2_FLASH_ADDR;
        memcpy(&dummy2[(uint32_t)(&pMotor->Ts) - MOTOR_2_FLASH_ADDR], &USB_RX_BUFFER[2], sizeof(uint32_t));
        uint32_t t = 0;
        memcpy((uint8_t*)&t, &USB_RX_BUFFER[2], sizeof(uint32_t));
        t = (uint32_t)(t / 1000);
        memcpy(&dummy2[(uint32_t)(&pMotor->Current_LPFHandle.Ts) - MOTOR_2_FLASH_ADDR], (uint8_t*)&t, sizeof(uint32_t));
        memcpy(&dummy2[(uint32_t)(&pMotor->Rotation_LPFHandle.Ts) - MOTOR_2_FLASH_ADDR], (uint8_t*)&t, sizeof(uint32_t));
      }
      break;
    }
    case(W_conv_mVpA): {
      if (ID == 0)
      {
        pMotor = (PIHanlde_t*)MOTOR_1_FLASH_ADDR;
        memcpy(&dummy1[(uint32_t)(&pMotor->MotorHandle.conversionRatio_mVpA) - MOTOR_1_FLASH_ADDR], &USB_RX_BUFFER[2], sizeof(uint8_t));
      }
      else
      {
        pMotor = (PIHanlde_t*)MOTOR_2_FLASH_ADDR;
        memcpy(&dummy2[(uint32_t)(&pMotor->MotorHandle.conversionRatio_mVpA) - MOTOR_2_FLASH_ADDR], &USB_RX_BUFFER[2], sizeof(uint8_t));
      }
      break;
    }
    case(W_conv_TpR): {
      if (ID == 0)
      {
        pMotor = (PIHanlde_t*)MOTOR_1_FLASH_ADDR;
        memcpy(&dummy1[(uint32_t)(&pMotor->MotorHandle.conversionRatio_TickpRotation) - MOTOR_1_FLASH_ADDR], &USB_RX_BUFFER[2], sizeof(uint16_t));
      }
      else
      {
        pMotor = (PIHanlde_t*)MOTOR_2_FLASH_ADDR;
        memcpy(&dummy2[(uint32_t)(&pMotor->MotorHandle.conversionRatio_TickpRotation) - MOTOR_2_FLASH_ADDR], &USB_RX_BUFFER[2], sizeof(uint16_t));
      }

      //save data
      pMotor = (PIHanlde_t*)MOTOR_1_FLASH_ADDR;
      for (uint8_t i = 0; i < 5; i++)
      {
        Flash_Write_Data(MOTOR_1_FLASH_ADDR, (uint32_t*)&dummy1, sizeof(Motor_1)/4);
      }
      memcpy(&dummy1[(uint32_t)(&pMotor->MotorHandle.ACS_MidPointVoltage_mV) - MOTOR_1_FLASH_ADDR], &Motor_1.MotorHandle.ACS_MidPointVoltage_mV, sizeof(uint16_t));
      pMotor = (PIHanlde_t*)MOTOR_2_FLASH_ADDR;
      for (uint8_t i = 0; i < 5; i++)
      {
        Flash_Write_Data(MOTOR_2_FLASH_ADDR, (uint32_t*)&dummy2, sizeof(Motor_2)/4);
      }
      memcpy(&dummy2[(uint32_t)(&pMotor->MotorHandle.ACS_MidPointVoltage_mV) - MOTOR_2_FLASH_ADDR], &Motor_2.MotorHandle.ACS_MidPointVoltage_mV, sizeof(uint16_t));

      //reload data
      memcpy(&Motor_1, &dummy1, sizeof(Motor_1));
      memcpy(&Motor_2, &dummy2, sizeof(Motor_2));

      Motor_1.MotorHandle.ADC_raw = &ADC_raw_value[ADC_BUFFER_LENGTH][0];
      Motor_1.PWM_Timer = &htim2;
      Motor_1.PWM_Channel = TIM_CHANNEL_1;
      Motor_1.FB_Encoder_Timer = &htim3;

      Motor_2.MotorHandle.ADC_raw = &ADC_raw_value[ADC_BUFFER_LENGTH][1];
      Motor_2.PWM_Timer = &htim2;
      Motor_2.PWM_Channel = TIM_CHANNEL_2;
      Motor_2.FB_Encoder_Timer = &htim4;

      isUpdating = false;
      break;
    }
    case(W_ENA): {
      if (ID == 0)
      {
        if (USB_RX_BUFFER[2] == 0x01)
          Motor_1.Enable = true;
        else
          Motor_1.Enable = false;
      }
      else
      {
        if (USB_RX_BUFFER[2] == 0x01)
          Motor_2.Enable = true;
        else
          Motor_2.Enable = false;
      }
      break;
    }
    default:  break;
  }
  return true;
}

//---------------------------------------------------------------------------------------------------

int32_t getRotationSpeed(PIHanlde_t* motor)
{
  motor->MotorHandle.Encoder_Speed_RPM = (int32_t)(motor->MotorHandle.Encoder_Speed_TickpSec * 60 / motor->MotorHandle.conversionRatio_TickpRotation);
  return (int32_t)(motor->MotorHandle.Encoder_Speed_RPM);
}

uint32_t getCurrent(PIHanlde_t* motor)
{
  motor->MotorHandle.ADC_Voltage_mV = (uint32_t)((*motor->MotorHandle.ADC_raw * ADC_VREF_mV / 4095.0) / ACS_ADC_RATIO);
  motor->MotorHandle.ADC_Current_A = (float)((float)((float)motor->MotorHandle.ADC_Voltage_mV - (float)motor->MotorHandle.ACS_MidPointVoltage_mV) / motor->MotorHandle.conversionRatio_mVpA);
  motor->MotorHandle.ADC_Current_mA = (int32_t)(motor->MotorHandle.ADC_Current_A * 1000.0);
  if (motor->MotorHandle.ADC_Current_mA > 5000)
    motor->MotorHandle.ADC_Current_mA = 0;
  return (uint32_t)(motor->MotorHandle.ADC_Current_mA);
}

float runPIControl(PIHanlde_t* motor)
{
  //error of rotation speed RPM
  motor->e_wt[0] = motor->Ref_Speed_RPM - motor->MotorHandle.Encoder_Speed_RPM;
  motor->vP_w = motor->Kp_Rotation * motor->e_wt[0];
  motor->vI_wt[0] = (motor->Ki_Rotation * motor->Ts * (motor->e_wt[0] + motor->e_wt[1]) / 2000.0) + motor->vI_wt[1];
  //current set point mA
  motor->vOut_w = motor->vP_w + motor->vI_wt[0];

  //error of motor's current mA
  // motor->e_It[0] = motor->vOut_w - motor->MotorHandle.ADC_Current_mA;
  // motor->vP_I = motor->Kp_Current * motor->e_It[0];
  // motor->vI_It[0] = (motor->Ki_Current * motor->Ts * (motor->e_It[0] - motor->e_It[1]) / 2.0) + motor->vI_It[1];
  // //voltage set point mV
  // motor->vOut_I = motor->vP_I + motor->vI_It[0];

  motor->vOut_I = motor->vOut_w;

  //Duty calculation
  motor->MotorHandle.Duty = (float)(motor->vOut_I / motor->MotorHandle.Vcc_mV);

  //Duty saturation
  if (motor->MotorHandle.Duty > 1.0)        motor->MotorHandle.Duty = 1.0;
  else if (motor->MotorHandle.Duty < 0.0)   motor->MotorHandle.Duty = 0.0;

  //Update time variable
  motor->e_wt[1] = motor->e_wt[0];
  motor->vI_wt[1] = motor->vI_wt[0];
  motor->e_It[1] = motor->e_It[0];
  motor->vI_It[1] = motor->vI_It[0];

  //Set PWM Duty
  __HAL_TIM_SetCompare(motor->PWM_Timer, motor->PWM_Channel, (uint32_t)(motor->MotorHandle.Duty * COUNTER_PERIOD));

  return (float)(motor->MotorHandle.Duty);
}

//---------------------------------------------------------------------------------------------------

float getChipTemperature(uint32_t rawADCtemp)
{
  return (float)((((((float)rawADCtemp/ADC_RESOLUTION) * (float)(ADC_VREF_mV/1000.0)) - V25) / AVG_SLOPE) + 25.0);
}

//---------------------------------------------------------------------------------------------------

uint32_t prepareSaveSpace(void)
{

  // memset(dummy1, '\0', sizeof(dummy1));
  memcpy(dummy1, (uint8_t*)MOTOR_1_FLASH_ADDR, sizeof(Motor_1));
  // memset(dummy2, '\0', sizeof(dummy2));
  memcpy(dummy2, (uint8_t*)MOTOR_2_FLASH_ADDR, sizeof(Motor_2));

  /* Unlock the Flash to enable the flash control register access *************/
  while (HAL_FLASH_Unlock() != HAL_OK);

  FLASH_EraseInitTypeDef EraseInitStruct;
  EraseInitStruct.TypeErase = FLASH_TYPEERASE_SECTORS;
  EraseInitStruct.VoltageRange = FLASH_VOLTAGE_RANGE_3;
  EraseInitStruct.Sector = 5;
  EraseInitStruct.NbSectors = 1;
  if(HAL_FLASHEx_Erase(&EraseInitStruct, NULL) != HAL_OK)
  {
   /* FLASH_ErrorTypeDef errorcode = HAL_FLASH_GetError(); */
    // Error_Handler();
    return 1;
  }

  while (HAL_FLASH_Lock() != HAL_OK);
  return 0;
}

uint32_t Flash_Write_Data(uint32_t StartPageAddress, uint32_t *Data, uint16_t numberofwords)
{

	int count = 0;

  // while ((FLASH->SR & FLASH_SR_BSY) == FLASH_SR_BSY);

  /* Unlock the Flash to enable the flash control register access *************/
  while (HAL_FLASH_Unlock() != HAL_OK);

  /* Program the user Flash area word by word*/
  for (uint8_t i = 0; i < 5; i++)
  {
    while (count < numberofwords)
    {
      if (HAL_FLASH_Program(FLASH_TYPEPROGRAM_WORD, StartPageAddress, (uint64_t)Data[count]) == HAL_OK)
      {
        StartPageAddress += 4;  // use StartPageAddress += 2 for half word and 8 for double word
        count++;
      }
      else
      {
        /* Error occurred while writing data in Flash memory*/
        return HAL_FLASH_GetError();
      }
    }
  }

  /* Lock the Flash to disable the flash control register access (recommended
    to protect the FLASH memory against possible unwanted operation) *********/
  while(HAL_FLASH_Lock() != HAL_OK);

  return 0;
}

//---------------------------------------------------------------------------------------------------

void runEncoderTickHandle(PIHanlde_t* motor)
{
    motor->MotorHandle.Encoder_Counter_Tick = (uint16_t)(__HAL_TIM_GET_COUNTER(motor->FB_Encoder_Timer));

    if (motor->MotorHandle.Encoder_Counter_Tick <= 35 && motor->MotorHandle.Encoder_Counter_preTick >= 65500)
    {
      //overflow
      motor->MotorHandle.encoderValue += (65536 + motor->MotorHandle.Encoder_Counter_Tick - motor->MotorHandle.Encoder_Counter_preTick);
    }
    else if (motor->MotorHandle.Encoder_Counter_Tick >= 65500 && motor->MotorHandle.Encoder_Counter_preTick <= 35)
    {
      //underflow
      motor->MotorHandle.encoderValue -= (65536 - motor->MotorHandle.Encoder_Counter_Tick + motor->MotorHandle.Encoder_Counter_preTick);
    }
    else if (motor->MotorHandle.Encoder_Counter_Tick >= motor->MotorHandle.Encoder_Counter_preTick)
    {
      motor->MotorHandle.encoderValue += (int32_t)((motor->MotorHandle.Encoder_Counter_Tick - motor->MotorHandle.Encoder_Counter_preTick));
    }
    else if (motor->MotorHandle.Encoder_Counter_Tick <= motor->MotorHandle.Encoder_Counter_preTick)
    {
      motor->MotorHandle.encoderValue -= (int32_t)((motor->MotorHandle.Encoder_Counter_preTick - motor->MotorHandle.Encoder_Counter_Tick));
    }

    motor->MotorHandle.Encoder_Counter_preTick = motor->MotorHandle.Encoder_Counter_Tick;
}

//---------------------------------------------------------------------------------------------------

void HAL_TIM_PeriodElapsedCallback(TIM_HandleTypeDef *htim)
{
  if (htim->Instance == TIM5)
  {
    HAL_IWDG_Refresh(&hiwdg);
    // invertArray();
    // ADC_raw_value[ADC_BUFFER_LENGTH][0] = digitalFilter(&ADC_raw_Inverted[0], ADC_BUFFER_LENGTH, ALPHA);
    // ADC_raw_value[ADC_BUFFER_LENGTH][1] = digitalFilter(&ADC_raw_Inverted[1], ADC_BUFFER_LENGTH, ALPHA);
    // ADC_raw_value[ADC_BUFFER_LENGTH][4] = digitalFilter(&ADC_raw_Inverted[4], ADC_BUFFER_LENGTH, ALPHA);
  }

  if (htim->Instance == TIM9)
  {
    encoderIndex++;

    runEncoderTickHandle(&Motor_1);
    runEncoderTickHandle(&Motor_2);

    if (encoderIndex >= 1000)
    {
      encoderIndex = 0;

      Motor_1.MotorHandle.Encoder_Speed_TickpSec = (int32_t)(Motor_1.MotorHandle.encoderValue * 10 / 4);
      Motor_1.MotorHandle.encoderValue = 0;

      Motor_2.MotorHandle.Encoder_Speed_TickpSec = (int32_t)(Motor_2.MotorHandle.encoderValue * 10 / 4);
      Motor_2.MotorHandle.encoderValue = 0;
    }
  }
}

void HAL_ADC_ConvCpltCallback(ADC_HandleTypeDef* hadc)
{
  ADC_raw_value_index++;
  if (((ADC_raw_value_index % NUMBER_OF_ADC_CHANNEL) == 0) && (ADC_raw_value_index < (NUMBER_OF_ADC_CHANNEL * ADC_BUFFER_LENGTH)))
  {
    HAL_ADC_Stop_DMA(&hadc1);
    HAL_ADC_Start_DMA(&hadc1, ADC_raw_value[(ADC_raw_value_index + 1) / NUMBER_OF_ADC_CHANNEL], NUMBER_OF_ADC_CHANNEL);
  }

  if (ADC_raw_value_index >= (NUMBER_OF_ADC_CHANNEL * ADC_BUFFER_LENGTH))
  {
    HAL_ADC_Stop_DMA(&hadc1);
    HAL_ADC_Start_DMA(&hadc1, ADC_raw_value[0], NUMBER_OF_ADC_CHANNEL);
    ADC_raw_value_index = 0;
    invertArray();
    ADC_raw_value[ADC_BUFFER_LENGTH][0] = digitalFilter(&ADC_raw_Inverted[0], ADC_BUFFER_LENGTH, ALPHA) + 60;
    ADC_raw_value[ADC_BUFFER_LENGTH][1] = digitalFilter(&ADC_raw_Inverted[1], ADC_BUFFER_LENGTH, ALPHA) + 60;
    ADC_raw_value[ADC_BUFFER_LENGTH][4] = digitalFilter(&ADC_raw_Inverted[4], ADC_BUFFER_LENGTH, ALPHA) + 10;
  }
}

/* USER CODE END 4 */

void Error_Handler(void)
{
  __disable_irq();
  while (1)
  {
  }
}
